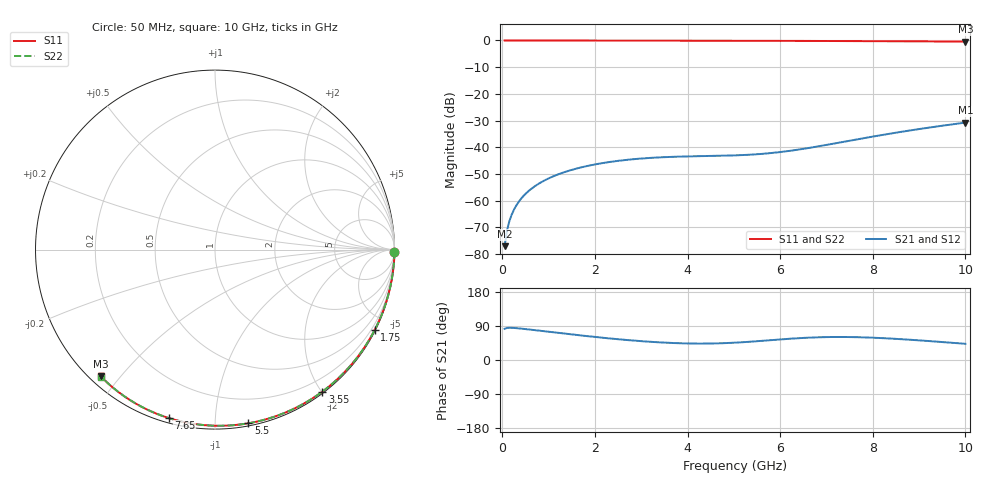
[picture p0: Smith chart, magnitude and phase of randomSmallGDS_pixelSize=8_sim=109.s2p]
! freq	dB(S11)	phase(S11)	dB(S12)	phase(S12)
!  dB(S21)	phase(S21)	dB(S22)	phase(S22)
!S-par simulation data
#  GHz  S  DB  R 50
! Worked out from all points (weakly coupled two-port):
!   200 points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, 50 MHz to 10 GHz, reference 50 ohm
!   highest |S21| = -30.77 dB at 10 GHz (marker M1); lowest = -77.1 dB at 50 MHz (marker M2)
!   lowest |S11| = -0.4 dB at 10 GHz (marker M3), VSWR 39.65, Z = 1.51 - j22.3 ohm
!   |S11| at or under -10 dB: nowhere
!   |S22| runs from -0.4 to 0.0 dB; largest |S21 - S12| = 0
!   S11 on the Smith chart (normalised r, x): 50 MHz: open; 1.75 GHz: 0.04, -4.21; 3.55 GHz: 0.02, -2.01; 5.5 GHz: 0.02, -1.21; 7.65 GHz: 0.02, -0.76; 10 GHz: 0.03, -0.45
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0.05  -0.00 -0.8  -77.07 82.2  -77.07 82.2  -0.00 -0.8
0.1  -0.00 -1.6  -71.32 84.7  -71.32 84.7  -0.00 -1.6
0.15  -0.00 -2.3  -67.86 85.1  -67.86 85.1  -0.00 -2.3
0.2  -0.00 -3.1  -65.38 85.0  -65.38 85.0  -0.00 -3.1
0.25  -0.00 -3.9  -63.46 84.6  -63.46 84.6  -0.00 -3.9
0.35  -0.00 -5.4  -60.56 83.6  -60.56 83.6  -0.00 -5.4
0.5  -0.01 -7.7  -57.50 81.6  -57.50 81.6  -0.01 -7.7
0.7  -0.01 -10.8  -54.64 78.8  -54.64 78.8  -0.01 -10.8
1  -0.02 -15.4  -51.68 74.6  -51.68 74.6  -0.02 -15.4
1.35  -0.03 -20.7  -49.29 69.6  -49.29 69.6  -0.03 -20.7
1.75  -0.03 -26.7  -47.36 64.1  -47.36 64.1  -0.03 -26.7
2.5  -0.05 -37.8  -45.10 54.8  -45.10 54.8  -0.05 -37.8
3.4  -0.07 -50.8  -43.80 46.5  -43.80 46.5  -0.07 -50.8
3.55  -0.07 -52.9  -43.68 45.6  -43.68 45.6  -0.07 -52.9
4.3  -0.09 -63.3  -43.34 43.3  -43.34 43.3  -0.09 -63.2
5.05  -0.11 -73.3  -43.04 45.9  -43.04 45.9  -0.11 -73.3
5.5  -0.13 -79.1  -42.63 49.5  -42.63 49.5  -0.13 -79.1
6.05  -0.15 -86.1  -41.71 54.7  -41.71 54.7  -0.15 -86.1
6.7  -0.18 -94.1  -40.04 59.4  -40.04 59.4  -0.18 -94.1
7.65  -0.24 -105.4  -37.09 60.3  -37.09 60.3  -0.24 -105.4
8.35  -0.29 -113.5  -34.98 56.8  -34.98 56.8  -0.29 -113.5
10  -0.44 -132.0  -30.77 42.8  -30.77 42.8  -0.44 -131.9
